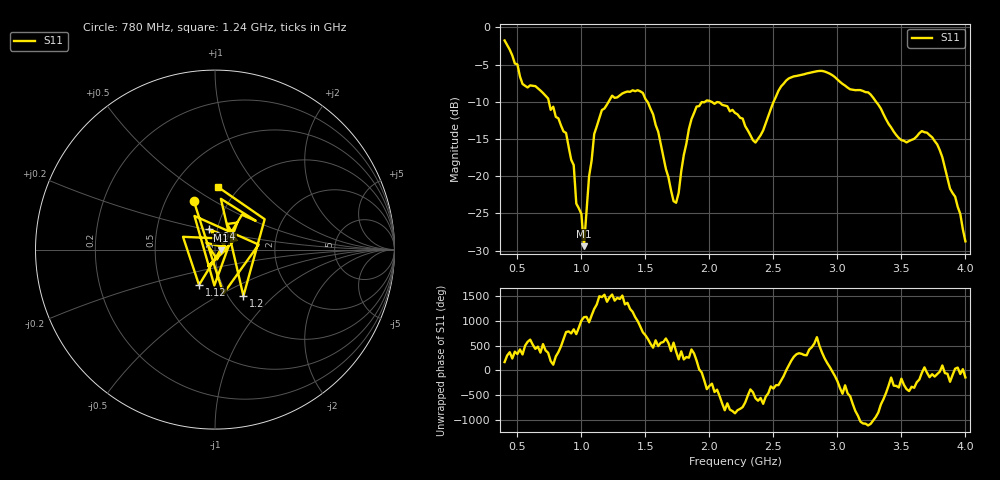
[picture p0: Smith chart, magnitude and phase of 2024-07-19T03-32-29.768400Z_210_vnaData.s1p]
!Created with skrf (http://scikit-rf.org).
# Hz S RI R 50.0
!freq ReS11 ImS11
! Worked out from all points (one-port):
!   181 points, 400 MHz to 4 GHz, reference 50 ohm
!   lowest |S11| = -29.4 dB at 1.02 GHz (marker M1), VSWR 1.07, Z = 53.5 - j0.532 ohm
!   |S11| at or under -10 dB: 745.8 MHz to 1.212 GHz (466.7 MHz wide, 47.7 % of centre); 2.016 GHz to 2.502 GHz (485.9 MHz wide, 21.5 % of centre); 3.302 GHz to end of sweep (the widest 3 of 4)
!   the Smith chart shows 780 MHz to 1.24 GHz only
!   S11 on the Smith chart (normalised r, x): 780 MHz: 0.69, +0.41; 940 MHz: 0.91, +0.21; 1.12 GHz: 0.78, -0.32; 1.2 GHz: 1.17, -0.67; 1.24 GHz: 0.81, +0.64
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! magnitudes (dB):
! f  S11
! 400 MHz  -1.8
! 540 MHz  -7.6
! 780 MHz  -10.7
! 860 MHz  -14.0
! 940 MHz  -18.5
! 960 MHz  -23.7
! 1 GHz  -25.1
! 1.02 GHz  -29.4
! 1.06 GHz  -20.0
! 1.12 GHz  -13.3
! 1.2 GHz  -10.4
! 1.24 GHz  -9.2
! 1.3 GHz  -9.1
! 1.48 GHz  -8.8
! 1.6 GHz  -14.0
! 1.72 GHz  -23.4
! 1.76 GHz  -22.2
! 1.84 GHz  -13.7
! 1.9 GHz  -10.6
! 2.2 GHz  -11.5
! 2.36 GHz  -15.5
! 2.54 GHz  -8.5
! 2.66 GHz  -6.6
! 3.1 GHz  -8.3
! 3.26 GHz  -9.0
! 3.56 GHz  -15.3
! 3.78 GHz  -15.7
! 4 GHz  -28.7
